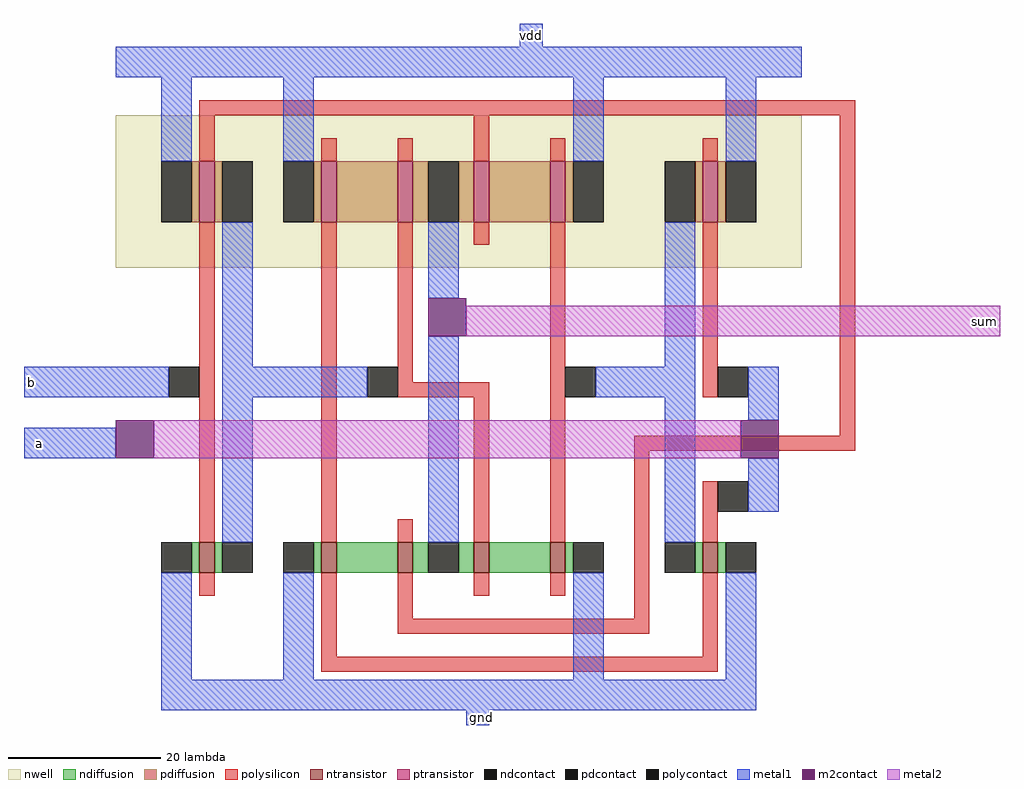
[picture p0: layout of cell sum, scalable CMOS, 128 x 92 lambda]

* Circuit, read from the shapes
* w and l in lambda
.subckt sum vdd gnd b a sum
M1 xor_0/Bnot b gnd VSUBS nfet w=4 l=2
M2 n1 a gnd VSUBS nfet w=4 l=2
M3 xor_0/XOR b n1 VSUBS nfet w=4 l=2
M4 n2 xor_0/Bnot xor_0/XOR VSUBS nfet w=4 l=2
M5 gnd xor_0/Anot n2 VSUBS nfet w=4 l=2
M6 gnd a xor_0/Anot VSUBS nfet w=4 l=2
M7 xor_0/Bnot b vdd n3 pfet w=8 l=2
M8 n4 a vdd n3 pfet w=8 l=2
M9 xor_0/XOR xor_0/Bnot n4 n3 pfet w=8 l=2
M10 n5 b xor_0/XOR n3 pfet w=8 l=2
M11 vdd xor_0/Anot n5 n3 pfet w=8 l=2
M12 vdd a xor_0/Anot n3 pfet w=8 l=2
.ends

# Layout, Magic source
magic
tech scmos
<< metal1 >>
rect 61 87 64 90
rect -4 41 0 45
rect -4 33 0 37
rect 54 -2 57 0
<< metal2 >>
rect 120 49 124 53
use xor  xor_0
transform 1 0 33 0 1 62
box -33 -62 87 25
<< labels >>
rlabel metal1 61 87 64 90 5 vdd
port 1 s default bidirectional
rlabel metal1 56 -1 56 -1 1 gnd
port 2 n default bidirectional
rlabel metal1 -3 43 -3 43 3 b
port 3 e default input
rlabel metal1 -2 35 -2 35 3 a
port 4 e default input
rlabel metal2 122 51 122 51 7 sum
port 5 w default output
<< end >>

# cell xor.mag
magic
tech scmos
<< nwell >>
rect -25 -4 65 16
<< ntransistor >>
rect -14 -44 -12 -40
rect 2 -44 4 -40
rect 12 -44 14 -40
rect 22 -44 24 -40
rect 32 -44 34 -40
rect 52 -44 54 -40
<< ptransistor >>
rect -14 2 -12 10
rect 2 2 4 10
rect 12 2 14 10
rect 22 2 24 10
rect 32 2 34 10
rect 52 2 54 10
<< ndiffusion >>
rect -15 -44 -14 -40
rect -12 -44 -11 -40
rect 1 -44 2 -40
rect 4 -44 12 -40
rect 14 -44 16 -40
rect 20 -44 22 -40
rect 24 -44 32 -40
rect 34 -44 35 -40
rect 51 -44 52 -40
rect 54 -44 55 -40
<< pdiffusion >>
rect -15 2 -14 10
rect -12 2 -11 10
rect 1 2 2 10
rect 4 2 12 10
rect 14 2 16 10
rect 20 2 22 10
rect 24 2 32 10
rect 34 2 35 10
rect 51 2 52 10
rect 54 2 55 10
<< ndcontact >>
rect -19 -44 -15 -40
rect -11 -44 -7 -40
rect -3 -44 1 -40
rect 16 -44 20 -40
rect 35 -44 39 -40
rect 47 -44 51 -40
rect 55 -44 59 -40
<< pdcontact >>
rect -19 2 -15 10
rect -11 2 -7 10
rect -3 2 1 10
rect 16 2 20 10
rect 35 2 39 10
rect 47 2 51 10
rect 55 2 59 10
<< polysilicon >>
rect -14 16 72 18
rect -14 10 -12 16
rect 2 10 4 13
rect 12 10 14 13
rect 22 10 24 16
rect 32 10 34 13
rect 52 10 54 13
rect -14 -40 -12 2
rect 2 -40 4 2
rect 12 -19 14 2
rect 22 -1 24 2
rect 12 -21 24 -19
rect 12 -40 14 -37
rect 22 -40 24 -21
rect 32 -40 34 2
rect 52 -21 54 2
rect 70 -26 72 16
rect 43 -28 72 -26
rect -14 -47 -12 -44
rect 2 -55 4 -44
rect 12 -50 14 -44
rect 22 -47 24 -44
rect 32 -47 34 -44
rect 43 -50 45 -28
rect 52 -40 54 -32
rect 12 -52 45 -50
rect 52 -55 54 -44
rect 2 -57 54 -55
<< polycontact >>
rect -18 -21 -14 -17
rect 8 -21 12 -17
rect 34 -21 38 -17
rect 54 -21 58 -17
rect 54 -36 58 -32
<< metal1 >>
rect -25 21 65 25
rect -19 10 -15 21
rect -3 10 1 21
rect 35 10 39 21
rect 55 10 59 21
rect -11 -17 -7 2
rect 16 -8 20 2
rect -33 -21 -18 -17
rect -11 -21 8 -17
rect -33 -29 -25 -25
rect -11 -40 -7 -21
rect 16 -40 20 -13
rect 47 -17 51 2
rect 38 -21 51 -17
rect 47 -40 51 -21
rect 58 -24 62 -17
rect 58 -36 62 -29
rect -19 -58 -15 -44
rect -3 -58 1 -44
rect 35 -58 39 -44
rect 55 -58 59 -44
rect -19 -62 59 -58
<< m2contact >>
rect 16 -13 21 -8
rect -25 -29 -20 -24
rect 57 -29 62 -24
<< metal2 >>
rect 21 -13 87 -9
rect -20 -29 57 -24
<< labels >>
rlabel metal1 -25 21 65 25 1 VDD
rlabel metal1 -19 -62 59 -58 1 GND
rlabel metal1 -11 -21 12 -17 1 Bnot
rlabel metal1 34 -21 47 -17 1 Anot
rlabel metal1 -33 -21 -14 -17 1 B
rlabel metal1 16 -44 20 8 1 XOR
rlabel metal2 16 -13 87 -9 1 XOR
rlabel space -33 -29 62 -25 1 A
rlabel metal1 54 -36 62 -32 1 A
rlabel metal1 54 -21 62 -17 1 A
<< end >>
